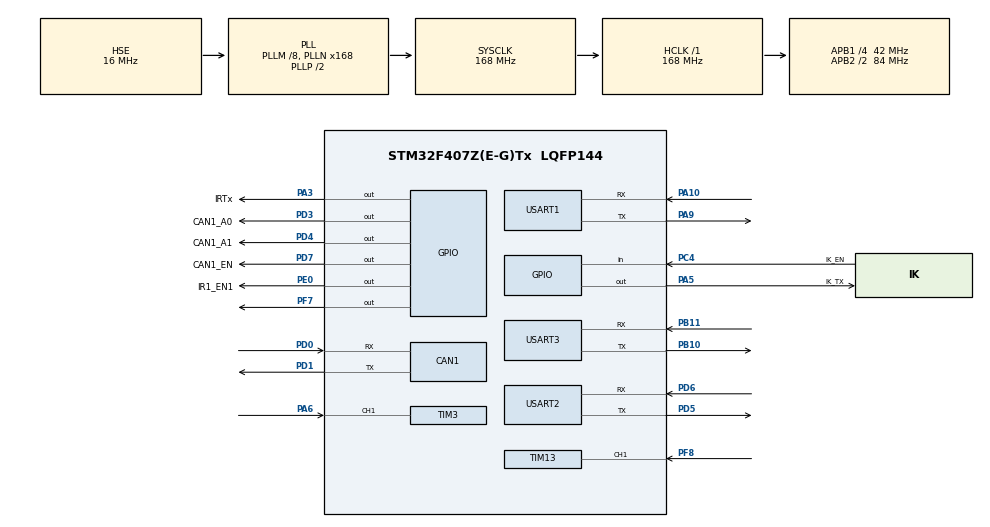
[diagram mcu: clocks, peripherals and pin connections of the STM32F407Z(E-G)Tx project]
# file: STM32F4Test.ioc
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CAN1.CalculateTimeBit=1142
CAN1.CalculateTimeQuantum=380.95238095238096
Mcu.Family=STM32F4
Mcu.Name=STM32F407Z(E-G)Tx
Mcu.Package=LQFP144
NVIC.PriorityGroup=NVIC_PRIORITYGROUP_4
NVIC.TIM3_IRQn=true\:0\:0\:false\:false\:true
NVIC.TIM8_TRG_COM_TIM14_IRQn=true\:15\:0\:true\:false\:true
NVIC.TIM8_UP_TIM13_IRQn=true\:0\:0\:false\:false\:true
NVIC.USART1_IRQn=true\:0\:0\:false\:false\:true
NVIC.USART2_IRQn=true\:0\:0\:false\:false\:true
NVIC.USART3_IRQn=true\:0\:0\:false\:false\:true
PA10.Mode=Asynchronous
PA10.Signal=USART1_RX
PA3.GPIO_Label=IRTx
PA3.GPIO_PuPd=GPIO_PULLDOWN
PA3.GPIO_Speed=GPIO_SPEED_FREQ_HIGH
PA3.Signal=GPIO_Output
PA5.GPIO_Label=IK_TX
PA5.Signal=GPIO_Output
PA6.Signal=S_TIM3_CH1
PA9.Mode=Asynchronous
PA9.Signal=USART1_TX
PB10.Mode=Asynchronous
PB10.Signal=USART3_TX
PB11.Mode=Asynchronous
PB11.Signal=USART3_RX
PC4.GPIO_Label=IK_EN
PC4.Signal=GPIO_Input
PD0.Mode=Master
PD0.Signal=CAN1_RX
PD1.Mode=Master
PD1.Signal=CAN1_TX
PD3.GPIO_Label=CAN1_A0
PD3.Signal=GPIO_Output
PD4.GPIO_Label=CAN1_A1
PD4.Signal=GPIO_Output
PD5.Mode=Asynchronous
PD5.Signal=USART2_TX
PD6.Mode=Asynchronous
PD6.Signal=USART2_RX
PD7.GPIO_Label=CAN1_EN
PD7.Signal=GPIO_Output
PE0.GPIO_Label=IR1_EN1
PE0.Signal=GPIO_Output
PF7.Signal=GPIO_Output
PF8.Signal=S_TIM13_CH1
PH0-OSC_IN.Mode=HSE-External-Oscillator
PH0-OSC_IN.Signal=RCC_OSC_IN
PH1-OSC_OUT.Mode=HSE-External-Oscillator
PH1-OSC_OUT.Signal=RCC_OSC_OUT
ProjectManager.HeapSize=0x600
ProjectManager.StackSize=0x400
ProjectManager.TargetToolchain=MDK-ARM V5
RCC.48MHZClocksFreq_Value=84000000
RCC.AHBCLKDivider=RCC_SYSCLK_DIV1
RCC.AHBFreq_Value=168000000
RCC.APB1CLKDivider=RCC_HCLK_DIV4
RCC.APB1Freq_Value=42000000
RCC.APB1TimFreq_Value=84000000
RCC.APB2CLKDivider=RCC_HCLK_DIV2
RCC.APB2Freq_Value=84000000
RCC.APB2TimFreq_Value=168000000
RCC.CortexFreq_Value=168000000
RCC.EXTERNAL_CLOCK_VALUE=60000000
RCC.HCLKFreq_Value=168000000
RCC.HSE_Timout=5000
RCC.HSE_VALUE=16000000
RCC.HSI_VALUE=16000000
RCC.LSE_VALUE=32768
RCC.PLLM=8
RCC.PLLN=168
RCC.PLLP=RCC_PLLP_DIV2
RCC.PLLSourceVirtual=RCC_PLLSOURCE_HSE
RCC.RCC_PERIPHCLK_RTCVar=RCC_PERIPHCLK_RTC
RCC.SYSCLKFreq_VALUE=168000000
RCC.SYSCLKSource=RCC_SYSCLKSOURCE_PLLCLK
RCC.VCOOutputFreq_Value=336000000
SH.S_TIM13_CH1.0=TIM13_CH1,Input_Capture1_from_TI1
SH.S_TIM3_CH1.0=TIM3_CH1,Input_Capture1_from_TI1
TIM13.Channel=TIM_CHANNEL_1
TIM13.ICFilter_CH1=8
TIM13.Period=3000
TIM13.Prescaler=84
TIM14.Period=1024
TIM14.Prescaler=21
TIM3.Channel-Input_Capture1_from_TI1=TIM_CHANNEL_1
TIM3.ICFilter_CH1=8
TIM3.Period=3000
TIM3.Prescaler=84
TIM3.TIM_MasterOutputTrigger=TIM_TRGO_UPDATE
USART1.VirtualMode=VM_ASYNC
USART2.VirtualMode=VM_ASYNC
USART3.VirtualMode=VM_ASYNC
VP_TIM13_VS_ClockSourceINT.Mode=Enable_Timer
VP_TIM14_VS_ClockSourceINT.Mode=Enable_Timer
VP_TIM3_VS_ClockSourceINT.Mode=Internal
board=STM32F4Test

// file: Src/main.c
/**
  ******************************************************************************
  * File Name          : main.c
  * Description        : Main program body
  ******************************************************************************
  ** This notice applies to any and all portions of this file
  * that are not between comment pairs USER CODE BEGIN and
  * USER CODE END. Other portions of this file, whether
  * inserted by the user or by software development tools
  * are owned by their respective copyright owners.
  *
  * COPYRIGHT(c) 2017 STMicroelectronics
  *
  * Redistribution and use in source and binary forms, with or without modification,
  * are permitted provided that the following conditions are met:
  *   1. Redistributions of source code must retain the above copyright notice,
  *      this list of conditions and the following disclaimer.
  *   2. Redistributions in binary form must reproduce the above copyright notice,
  *      this list of conditions and the following disclaimer in the documentation
  *      and/or other materials provided with the distribution.
  *   3. Neither the name of STMicroelectronics nor the names of its contributors
  *      may be used to endorse or promote products derived from this software
  *      without specific prior written permission.
  *
  * THIS SOFTWARE IS PROVIDED BY THE COPYRIGHT HOLDERS AND CONTRIBUTORS "AS IS"
  * AND ANY EXPRESS OR IMPLIED WARRANTIES, INCLUDING, BUT NOT LIMITED TO, THE
  * IMPLIED WARRANTIES OF MERCHANTABILITY AND FITNESS FOR A PARTICULAR PURPOSE ARE
  * DISCLAIMED. IN NO EVENT SHALL THE COPYRIGHT HOLDER OR CONTRIBUTORS BE LIABLE
  * FOR ANY DIRECT, INDIRECT, INCIDENTAL, SPECIAL, EXEMPLARY, OR CONSEQUENTIAL
  * DAMAGES (INCLUDING, BUT NOT LIMITED TO, PROCUREMENT OF SUBSTITUTE GOODS OR
  * SERVICES; LOSS OF USE, DATA, OR PROFITS; OR BUSINESS INTERRUPTION) HOWEVER
  * CAUSED AND ON ANY THEORY OF LIABILITY, WHETHER IN CONTRACT, STRICT LIABILITY,
  * OR TORT (INCLUDING NEGLIGENCE OR OTHERWISE) ARISING IN ANY WAY OUT OF THE USE
  * OF THIS SOFTWARE, EVEN IF ADVISED OF THE POSSIBILITY OF SUCH DAMAGE.
  *
  ******************************************************************************
  */
#include "main.h"
#include "stm32f4xx_hal.h"
#include "can.h"
#include "tim.h"
#include "usart.h"
#include "gpio.h"

/* USER CODE BEGIN PV */
/* Private variables ---------------------------------------------------------*/
volatile _GFlags gFlags;
uint32_t FlashTick;
unsigned int gTemp32[50];
volatile unsigned char gTempIndex;
char MessgeBuf[200];
CanTxMsgTypeDef CANTxMessage; //发送消息
CanRxMsgTypeDef CANRxMessage; //接收消息

/* USER CODE END PV */

void SystemClock_Config(void);

/* USER CODE BEGIN PFP */
/* Private function prototypes -----------------------------------------------*/

/* USER CODE END PFP */

int main(void)
{

  /* USER CODE BEGIN 1 */
	unsigned int i,x;
  /* USER CODE END 1 */

  /* MCU Configuration----------------------------------------------------------*/

  /* Reset of all peripherals, Initializes the Flash interface and the Systick. */
  HAL_Init();

  /* Configure the system clock */
  SystemClock_Config();

  /* Initialize all configured peripherals */
  MX_GPIO_Init();
  MX_USART1_UART_Init();
  MX_USART3_UART_Init();
  MX_USART2_UART_Init();
  MX_CAN1_Init();
  MX_TIM13_Init();
  MX_TIM14_Init();
  MX_TIM3_Init();

  /* USER CODE BEGIN 2 */
  gTempIndex=0;

  CP1616_Client_Init();
  FlashTick=HAL_GetTick();
  hcan1.pTxMsg=&CANTxMessage; //发送消息
  hcan1.pRxMsg=&CANRxMessage;

  TIM14->CR1 |= TIM_CR1_URS;
  __HAL_TIM_CLEAR_FLAG(&htim14, TIM_FLAG_UPDATE);
  HAL_NVIC_EnableIRQ(TIM8_TRG_COM_TIM14_IRQn);

  TIM3->CR1 |= TIM_CR1_URS;
  __HAL_TIM_ENABLE_IT(&htim3, TIM_IT_UPDATE);

  TIM13->CR1 |= TIM_CR1_URS;
  __HAL_TIM_ENABLE_IT(&htim13, TIM_IT_UPDATE);
  /************************************************************************/
  /* 临时代码                                                             */
  /************************************************************************/

  /* USER CODE END 2 */

  /* Infinite loop */
  /* USER CODE BEGIN WHILE */
  if(HAL_UART_Receive_IT(&UART_WithPC_Handle,aRxBuffer_WithPC,1)!=HAL_OK)
	  Error_Handler();
//   __HAL_TIM_CLEAR_IT(&htim14, TIM_IT_UPDATE);
//   //htim14.Instance->CR1 |=TIM_CR1_URS;
//    HAL_TIM_Base_Start_IT(&htim14);
//    //HAL_NVIC_DisableIRQ(TIM8_TRG_COM_TIM14_IRQn);
//    HAL_TIM_PWM_Start(&htim14,TIM_CHANNEL_1);
// //   HAL_TIM_IC_Start_IT(&htim5,TIM_CHANNEL_1);
	while (1)
	{
  /* USER CODE END WHILE */

  /* USER CODE BEGIN 3 */
 		if(GetDeltaTick(FlashTick)>500)
 		{
 			FlashTick=HAL_GetTick();
// 			if(CAN1_Send_Msg(txData[0],8)==0)
// 			{
// 				if(HAL_CAN_Receive(&hcan1,CAN_FIFO0,100000)!=HAL_OK)
// 					LED_DS1_OFF();
// 				else
// 					LED_DS1_ON();
// 			}
// 			else
// 			    LED_DS1_OFF();
//  			if(TIM14->CCR1==249)
  				//TIM14->CCR1=1;
//  			else
//  				TIM14->CCR1++;
//  			LED_DS0_Toggle();
//  			LED_DS1_Toggle();
 			//HAL_UART_Transmit(&huart2,txBuf,3,1000);
 		}
//		if(gFlags.Bits.bCap)
//		{
//// 			x=sprintf(MessgeBuf,"%ld us\r\n",gTemp32[0]);
//// 			HAL_UART_Transmit(&huart2,(unsigned char*)MessgeBuf,x,1000);
//// 			gFlags.Bits.bCap=0;
//// 			HAL_TIM_IC_Start_IT(&htim5,TIM_CHANNEL_1);
//		}
		if(gFlags.Bits.bWithPC_Rx)
		{
			ProcCommandFromPC();
		}
	}
  /* USER CODE END 3 */

}

/** System Clock Configuration
*/
void SystemClock_Config(void)
{

  RCC_OscInitTypeDef RCC_OscInitStruct;
  RCC_ClkInitTypeDef RCC_ClkInitStruct;

    /**Configure the main internal regulator output voltage
    */
  __HAL_RCC_PWR_CLK_ENABLE();

  __HAL_PWR_VOLTAGESCALING_CONFIG(PWR_REGULATOR_VOLTAGE_SCALE1);

    /**Initializes the CPU, AHB and APB busses clocks
    */
  RCC_OscInitStruct.OscillatorType = RCC_OSCILLATORTYPE_HSE;
  RCC_OscInitStruct.HSEState = RCC_HSE_ON;
  RCC_OscInitStruct.PLL.PLLState = RCC_PLL_ON;
  RCC_OscInitStruct.PLL.PLLSource = RCC_PLLSOURCE_HSE;
  RCC_OscInitStruct.PLL.PLLM = 8;
  RCC_OscInitStruct.PLL.PLLN = 168;
  RCC_OscInitStruct.PLL.PLLP = RCC_PLLP_DIV2;
  RCC_OscInitStruct.PLL.PLLQ = 4;
  if (HAL_RCC_OscConfig(&RCC_OscInitStruct) != HAL_OK)
  {
    _Error_Handler(__FILE__, __LINE__);
  }

    /**Initializes the CPU, AHB and APB busses clocks
    */
  RCC_ClkInitStruct.ClockType = RCC_CLOCKTYPE_HCLK|RCC_CLOCKTYPE_SYSCLK
                              |RCC_CLOCKTYPE_PCLK1|RCC_CLOCKTYPE_PCLK2;
  RCC_ClkInitStruct.SYSCLKSource = RCC_SYSCLKSOURCE_PLLCLK;
  RCC_ClkInitStruct.AHBCLKDivider = RCC_SYSCLK_DIV1;
  RCC_ClkInitStruct.APB1CLKDivider = RCC_HCLK_DIV4;
  RCC_ClkInitStruct.APB2CLKDivider = RCC_HCLK_DIV2;

  if (HAL_RCC_ClockConfig(&RCC_ClkInitStruct, FLASH_LATENCY_5) != HAL_OK)
  {
    _Error_Handler(__FILE__, __LINE__);
  }

    /**Configure the Systick interrupt time
    */
  HAL_SYSTICK_Config(HAL_RCC_GetHCLKFreq()/1000);

    /**Configure the Systick
    */
  HAL_SYSTICK_CLKSourceConfig(SYSTICK_CLKSOURCE_HCLK);

  /* SysTick_IRQn interrupt configuration */
  HAL_NVIC_SetPriority(SysTick_IRQn, 0, 0);
}

void _Error_Handler(char * file, int line)
{
  while(1)
  {
  }
}

/************************ (C) COPYRIGHT STMicroelectronics *****END OF FILE****/
